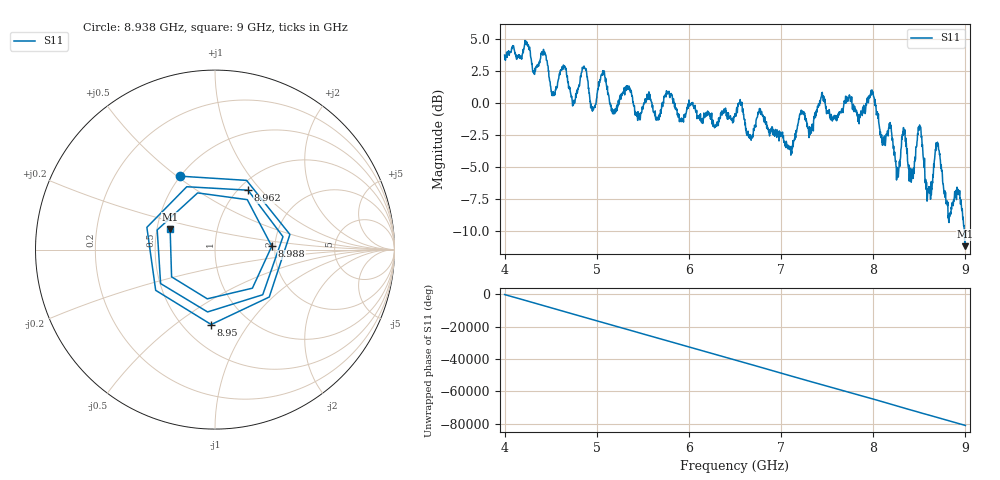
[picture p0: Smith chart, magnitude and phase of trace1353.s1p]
! Created with skrf 1.8.0 (http://scikit-rf.org).
# Hz S RI R 50.0
!freq ReS11 ImS11
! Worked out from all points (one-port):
!   1601 points, 4 GHz to 9 GHz, reference 50 ohm
!   lowest |S11| = -11.2 dB at 9 GHz (marker M1), VSWR 1.76, Z = 29.3 + j7.29 ohm
!   |S11| at or under -10 dB: 8.988088 GHz to end of sweep
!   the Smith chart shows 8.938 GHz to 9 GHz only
!   S11 on the Smith chart (normalised r, x): 8.938 GHz: 0.50, +0.51; 8.95 GHz: 0.68, -0.69; 8.962 GHz: 1.10, +0.85; 8.988 GHz: 1.92, +0.08; 9 GHz: 0.59, +0.15
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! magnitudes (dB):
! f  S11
! 4 GHz  3.7
! 4.425 GHz  4.1
! 4.528 GHz  0.9
! 4.625 GHz  2.7
! 4.744 GHz  -0.2
! 4.862 GHz  2.9
! 4.956 GHz  -0.4
! 5.066 GHz  2.5
! 5.25 GHz  0.5
! 5.875 GHz  -1.0
! 6.5 GHz  -0.8
! 7.125 GHz  -3.4
! 7.222 GHz  -0.9
! 7.75 GHz  0.3
! 7.988 GHz  1.0
! 8.262 GHz  -5.8
! 8.328 GHz  -1.9
! 8.375 GHz  -4.7
! 8.425 GHz  -5.4
! 8.503 GHz  -1.7
! 8.597 GHz  -6.9
! 8.697 GHz  -3.1
! 8.812 GHz  -9.0
! 8.938 GHz  -6.9
! 8.95 GHz  -7.6
! 8.962 GHz  -8.4
! 8.988 GHz  -10.0
! 9 GHz  -11.2
